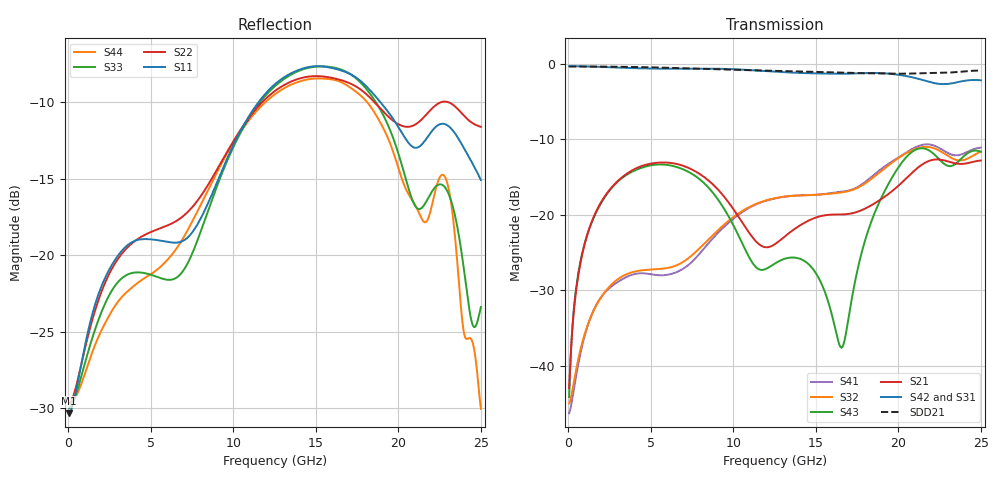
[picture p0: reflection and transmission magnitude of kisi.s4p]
! BV_ts_m2_per0_q050f25s_e35: /TS-USB4 Components/M2_PER0_P via F.Cu→In3.Cu at (161.287, 130.742) with its partner
! stackup: Thunderscope_Rev5.3 from the board file and its kisi.json
! ports: 1 P in, 2 N in, 3 P out, 4 N out
! kisi-fdtd, conformal, dfine 0.05 mm, 520478 cells
# Hz S RI R 50
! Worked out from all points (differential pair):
!   400 points, 62.5 MHz to 25 GHz, reference 50 ohm
!   strongest paths, dB at 62.5 MHz, 6.312 GHz, 12.56 GHz, 18.81 GHz, 25 GHz:
!     S42: -0.3, -0.6, -1.0, -1.2, -2.2
!     S31: -0.3, -0.6, -1.1, -1.2, -1.9
!     S21: -43.0, -13.1, -23.8, -18.1, -12.8
!     S43: -44.2, -13.5, -26.4, -18.5, -11.6
!     S32: -45.0, -26.9, -17.8, -14.5, -11.6
!     S41: -46.3, -27.8, -17.8, -14.2, -11.1
!   taken as a pair (ports 2,1 in; 4,3 out), SDD21 dB: -0.3, -0.5, -0.9, -1.2, -0.9
!   lowest |S11| = -30.3 dB at 62.5 MHz (marker M1), VSWR 1.06, Z = 47.1 + j0.275 ohm
!   |S11| at or under -10 dB: start of sweep to 11.52 GHz; 18.93 GHz to end of sweep
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6.25e7  -0.0303 0.00292  0.00518 0.00399  0.9692 -0.0191  0.00529 -0.0011
        0.00595 0.00385  -0.0326 0.00286  0.00548 -0.00115  0.967 -0.0195
        0.9682 -0.0189  0.00548 -0.00115  -0.0316 0.00301  0.00529 0.00401
        0.00472 -0.001  0.9674 -0.0196  0.00463 0.00409  -0.0327 0.00273
8.125e8  -0.0239 0.0376  0.0191 0.049  0.9354 -0.2445  0.000208 -0.0135
         0.0185 0.0485  -0.0261 0.0359  0.000266 -0.0136  0.9325 -0.2511
         0.9361 -0.2437  0.000266 -0.0136  -0.0192 0.0356  0.0189 0.0486
         0.000643 -0.0129  0.9322 -0.251  0.0193 0.0494  -0.0209 0.0319
2.75e9  0.0316 0.0896  0.1246 0.0957  0.6248 -0.7169  -0.0317 -0.0138
        0.1246 0.0951  0.0215 0.0899  -0.0316 -0.0161  0.6048 -0.732
        0.6248 -0.7161  -0.0316 -0.0161  0.0587 0.0518  0.122 0.0962
        -0.0316 -0.0134  0.605 -0.7323  0.122 0.0966  0.0555 0.0379
9.8125e9  0.0912 0.1976  0.0362 -0.1113  -0.92 -0.1271  -0.0197 0.0883
          0.036 -0.1114  0.1186 0.1931  -0.024 0.0898  -0.9246 -0.045
          -0.9198 -0.1271  -0.024 0.0898  -0.135 0.1664  0.0317 -0.0882
          -0.0195 0.0882  -0.9246 -0.045  0.0319 -0.088  -0.1341 0.1793
1.6125e10  0.4076 -0.0195  0.0026 -0.1002  0.1511 0.8378  0.1267 -0.0595
           0.00252 -0.1004  0.3789 -0.00363  0.1329 -0.0403  0.2897 0.8125
           0.1512 0.838  0.1329 -0.0403  0.3957 -0.1104  0.00124 -0.0188
           0.1268 -0.0599  0.2894 0.8122  0.000939 -0.0186  0.3031 -0.2202
1.9875e10  0.2208 -0.1545  -0.1267 0.0835  0.8358 0.1803  0.0148 -0.2375
           -0.1263 0.0834  0.2499 -0.1048  0.0665 -0.2227  0.8536 -0.00542
           0.8353 0.1804  0.0665 -0.2227  -0.00387 -0.2262  0.0441 0.1924
           0.017 -0.2343  0.8522 -0.00212  0.0447 0.191  -0.12 -0.1639
2.5e10  0.0889 -0.1522  0.2204 0.0663  0.2072 -0.7788  -0.2585 0.0889
        0.2196 0.0653  0.1525 -0.2144  -0.2627 -0.00541  0.029 -0.7725
        0.2081 -0.7772  -0.2627 -0.00541  -0.0171 -0.0657  0.2405 -0.0874
        -0.2623 0.0945  0.0225 -0.7798  0.2418 -0.0998  -0.03 0.00974
